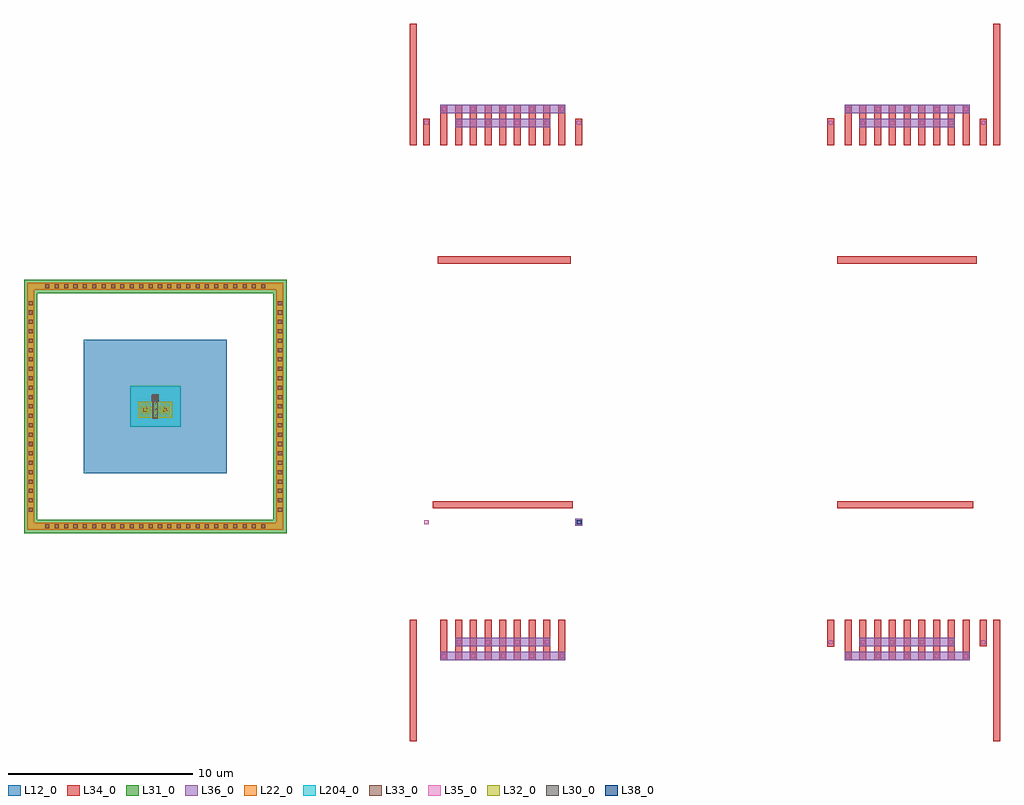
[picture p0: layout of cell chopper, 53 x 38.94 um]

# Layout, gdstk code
import gdstk
lib = gdstk.Library(unit=1e-6, precision=1e-09)
def R(c, l, rs):  # rectangles x0, y0, x1, y1
    for r in rs: c.add(gdstk.rectangle(r[:2], r[2:], *l))
def A(c, l, x, y, w, h, nx, ny, dx, dy):  # array of equal rectangles
    R(c, l, [(x+i*dx, y+j*dy, x+i*dx+w, y+j*dy+h) for i in range(nx) for j in range(ny)])
def P(c, l, *ps):  # polygons
    for p in ps: c.add(gdstk.Polygon(p, *l))
L12_0 = (12, 0)
L22_0 = (22, 0)
L30_0 = (30, 0)
L31_0 = (31, 0)
L32_0 = (32, 0)
L33_0 = (33, 0)
L34_0 = (34, 0)
L35_0 = (35, 0)
L36_0 = (36, 0)
L38_0 = (38, 0)
L204_0 = (204, 0)

nfet = lib.new_cell('nfet')
R(nfet, L12_0, [(-3.55,-3.26,4.21,3.992)])
R(nfet, L22_0, [(-0.42,-0.01,0,0.37), (0.66,-0.01,1.08,0.37), (0,0,0.66,0.36)])
P(nfet, L22_0, [(-6.63,-6.34),(-6.63,6.692),(-6.25,6.692),(-6.25,-5.96),(6.91,-5.96),(6.91,6.692),(-6.63,6.692),(-6.63,7.072),(7.29,7.072),(7.29,-6.34)])
R(nfet, L30_0, [(0.19,-0.3,0.47,0.66), (0.15,0.66,0.51,1.02)])
P(nfet, L31_0, [(-6.8,-6.51),(-6.8,6.522),(-6.08,6.522),(-6.08,-5.79),(6.74,-5.79),(6.74,6.522),(-6.8,6.522),(-6.8,7.242),(7.46,7.242),(7.46,-6.51)])
R(nfet, L32_0, [(-0.59,-0.25,1.25,0.61)])
A(nfet, L33_0, -5.645, -6.26, 0.22, 0.22, 24, 2, 0.51, 13.032)
A(nfet, L33_0, -6.55, -5.354, 0.22, 0.22, 1, 23, 0, 0.51)
A(nfet, L33_0, 6.99, -5.354, 0.22, 0.22, 1, 23, 0, 0.51)
R(nfet, L33_0, [(-0.32,0.07,-0.1,0.29), (0.76,0.07,0.98,0.29), (0.22,0.73,0.44,0.95)])
R(nfet, L34_0, [(-0.4,-0.011,-0.02,0.371), (0.68,-0.011,1.06,0.371), (0.14,0.649,0.52,1.031)])
R(nfet, L204_0, [(-1.04,-0.75,1.7,1.482)])

chopper = lib.new_cell('chopper')
A(chopper, L34_0, -22.535, -18.055, 0.38, 2.218, 9, 2, 0.8, 27.962)
A(chopper, L34_0, -0.575, -18.055, 0.38, 2.218, 9, 2, 0.8, 27.962)
R(chopper, L34_0, [(-24.185,-22.435,-23.805,-15.835), (7.475,-22.435,7.855,-15.835), (-1.515,-17.305,-1.135,-15.837), (6.765,-17.295,7.145,-15.837), (-22.935,-9.806,-15.355,-9.424), (-0.975,-9.806,6.415,-9.424), (-22.685,3.496,-15.465,3.878), (-0.975,3.496,6.605,3.878), (-24.185,9.905,-23.805,16.505), (7.475,9.905,7.855,16.505), (-23.475,9.907,-23.095,11.365), (-15.195,9.907,-14.815,11.365), (-1.515,9.907,-1.135,11.375), (6.765,9.907,7.145,11.365)])
A(chopper, L35_0, -22.455, -17.925, 0.22, 0.22, 5, 2, 1.6, 29.7)
A(chopper, L35_0, -0.495, -17.925, 0.22, 0.22, 5, 2, 1.6, 29.7)
A(chopper, L35_0, -21.655, -17.175, 0.22, 0.22, 4, 2, 1.6, 28.2)
A(chopper, L35_0, 0.305, -17.175, 0.22, 0.22, 4, 2, 1.6, 28.2)
R(chopper, L35_0, [(-1.435,-17.175,-1.215,-16.955), (6.845,-17.175,7.065,-16.955), (-23.395,-10.657,-23.175,-10.437), (-15.115,-10.657,-14.895,-10.437), (-23.395,11.025,-23.175,11.245), (-15.115,11.025,-14.895,11.245), (-1.435,11.025,-1.215,11.245), (6.845,11.025,7.065,11.245)])
R(chopper, L36_0, [(-22.535,-18.055,-15.755,-17.595), (-0.575,-18.055,6.205,-17.595), (-21.735,-17.295,-16.555,-16.835), (0.225,-17.295,5.405,-16.835), (-15.195,-10.735,-14.815,-10.355), (-21.735,10.905,-16.555,11.365), (0.225,10.905,5.405,11.365), (-22.535,11.665,-15.755,12.125), (-0.575,11.665,6.205,12.125)])
R(chopper, L38_0, [(-15.115,-10.655,-14.895,-10.435)])
chopper.add(gdstk.Reference(nfet, (-38.34,-4.63)))

lib.write_gds('chopper.gds')
